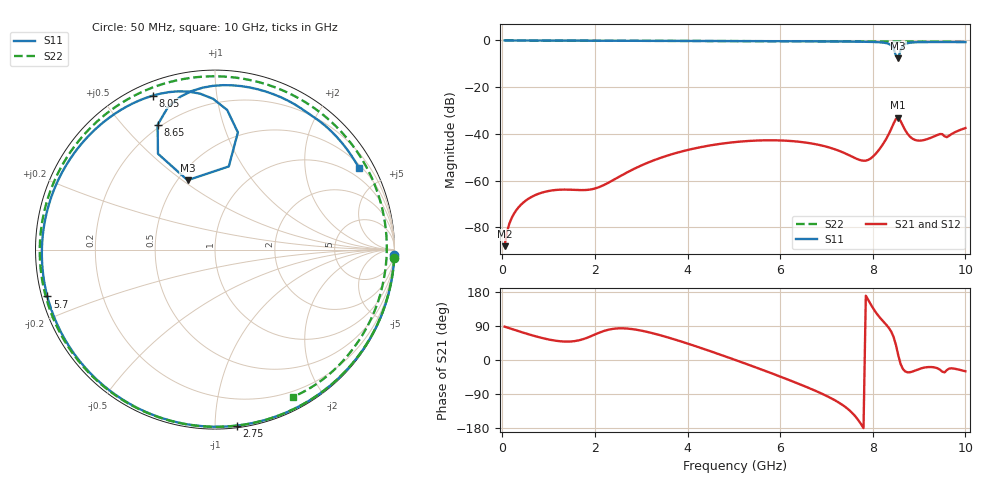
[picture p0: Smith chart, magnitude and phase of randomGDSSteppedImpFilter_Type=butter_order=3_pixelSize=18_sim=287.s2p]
! freq	dB(S11)	phase(S11)	dB(S12)	phase(S12)
!  dB(S21)	phase(S21)	dB(S22)	phase(S22)
!S-par simulation data
#  GHz  S  DB  R 50
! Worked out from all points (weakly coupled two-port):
!   200 points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, 50 MHz to 10 GHz, reference 50 ohm
!   highest |S21| = -33.12 dB at 8.55 GHz (marker M1); lowest = -88.1 dB at 50 MHz (marker M2)
!   lowest |S11| = -7.6 dB at 8.55 GHz (marker M3), VSWR 2.42, Z = 28 + j26.1 ohm
!   |S11| at or under -10 dB: nowhere
!   |S22| runs from -0.6 to 0.0 dB; largest |S21 - S12| = 0
!   S11 on the Smith chart (normalised r, x): 50 MHz: 0, -72; 2.75 GHz: 0.01, -1.13; 5.7 GHz: 0.02, -0.14; 8.05 GHz: 0.06, +0.67; 8.65 GHz: 0.19, +0.62; 10 GHz: 0.61, +3.70
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0.05  -0.00 -1.6  -88.09 88.0  -88.09 88.0  -0.00 -2.5
0.4  -0.02 -12.6  -70.40 74.1  -70.40 74.1  -0.03 -20.0
0.7  -0.03 -21.9  -66.32 63.2  -66.32 63.2  -0.05 -34.7
1.75  -0.07 -53.9  -64.08 55.1  -64.08 55.1  -0.10 -84.4
2.75  -0.10 -82.9  -55.94 82.3  -55.94 82.3  -0.15 -128.3
3.4  -0.13 -101.0  -50.40 65.7  -50.40 65.7  -0.18 -155.6
4.2  -0.17 -122.8  -46.03 35.4  -46.03 35.4  -0.22 171.1
5.05  -0.22 -146.1  -43.47 -0.7  -43.47 -0.7  -0.26 135.2
5.7  -0.27 -164.4  -42.75 -29.8  -42.75 -29.8  -0.29 107.1
6.7  -0.36 165.1  -44.19 -78.0  -44.19 -78.0  -0.32 63.2
7.75  -0.54 126.3  -51.36 -169.8  -51.36 -169.8  -0.36 18.7
8.05  -0.67 112.0  -48.82 128.5  -48.82 128.5  -0.37 6.7
8.35  -1.51 90.7  -39.92 84.2  -39.92 84.2  -0.39 -4.9
8.45  -3.54 78.9  -35.56 60.8  -35.56 60.8  -0.40 -8.6
8.5  -6.56 80.6  -33.60 39.8  -33.60 39.8  -0.40 -10.5
8.55  -7.62 111.6  -33.12 12.7  -33.12 12.7  -0.41 -12.3
8.65  -2.32 114.7  -36.52 -23.6  -36.52 -23.6  -0.41 -16.0
8.8  -0.98 98.2  -41.12 -32.3  -41.12 -32.3  -0.42 -21.5
9  -0.72 84.0  -42.91 -23.9  -42.91 -23.9  -0.45 -28.6
9.45  -0.71 58.6  -40.08 -25.4  -40.08 -25.4  -0.50 -44.0
9.6  -0.70 51.0  -41.40 -26.5  -41.40 -26.5  -0.53 -49.1
10  -0.70 29.5  -37.51 -29.8  -37.51 -29.8  -0.64 -62.2
